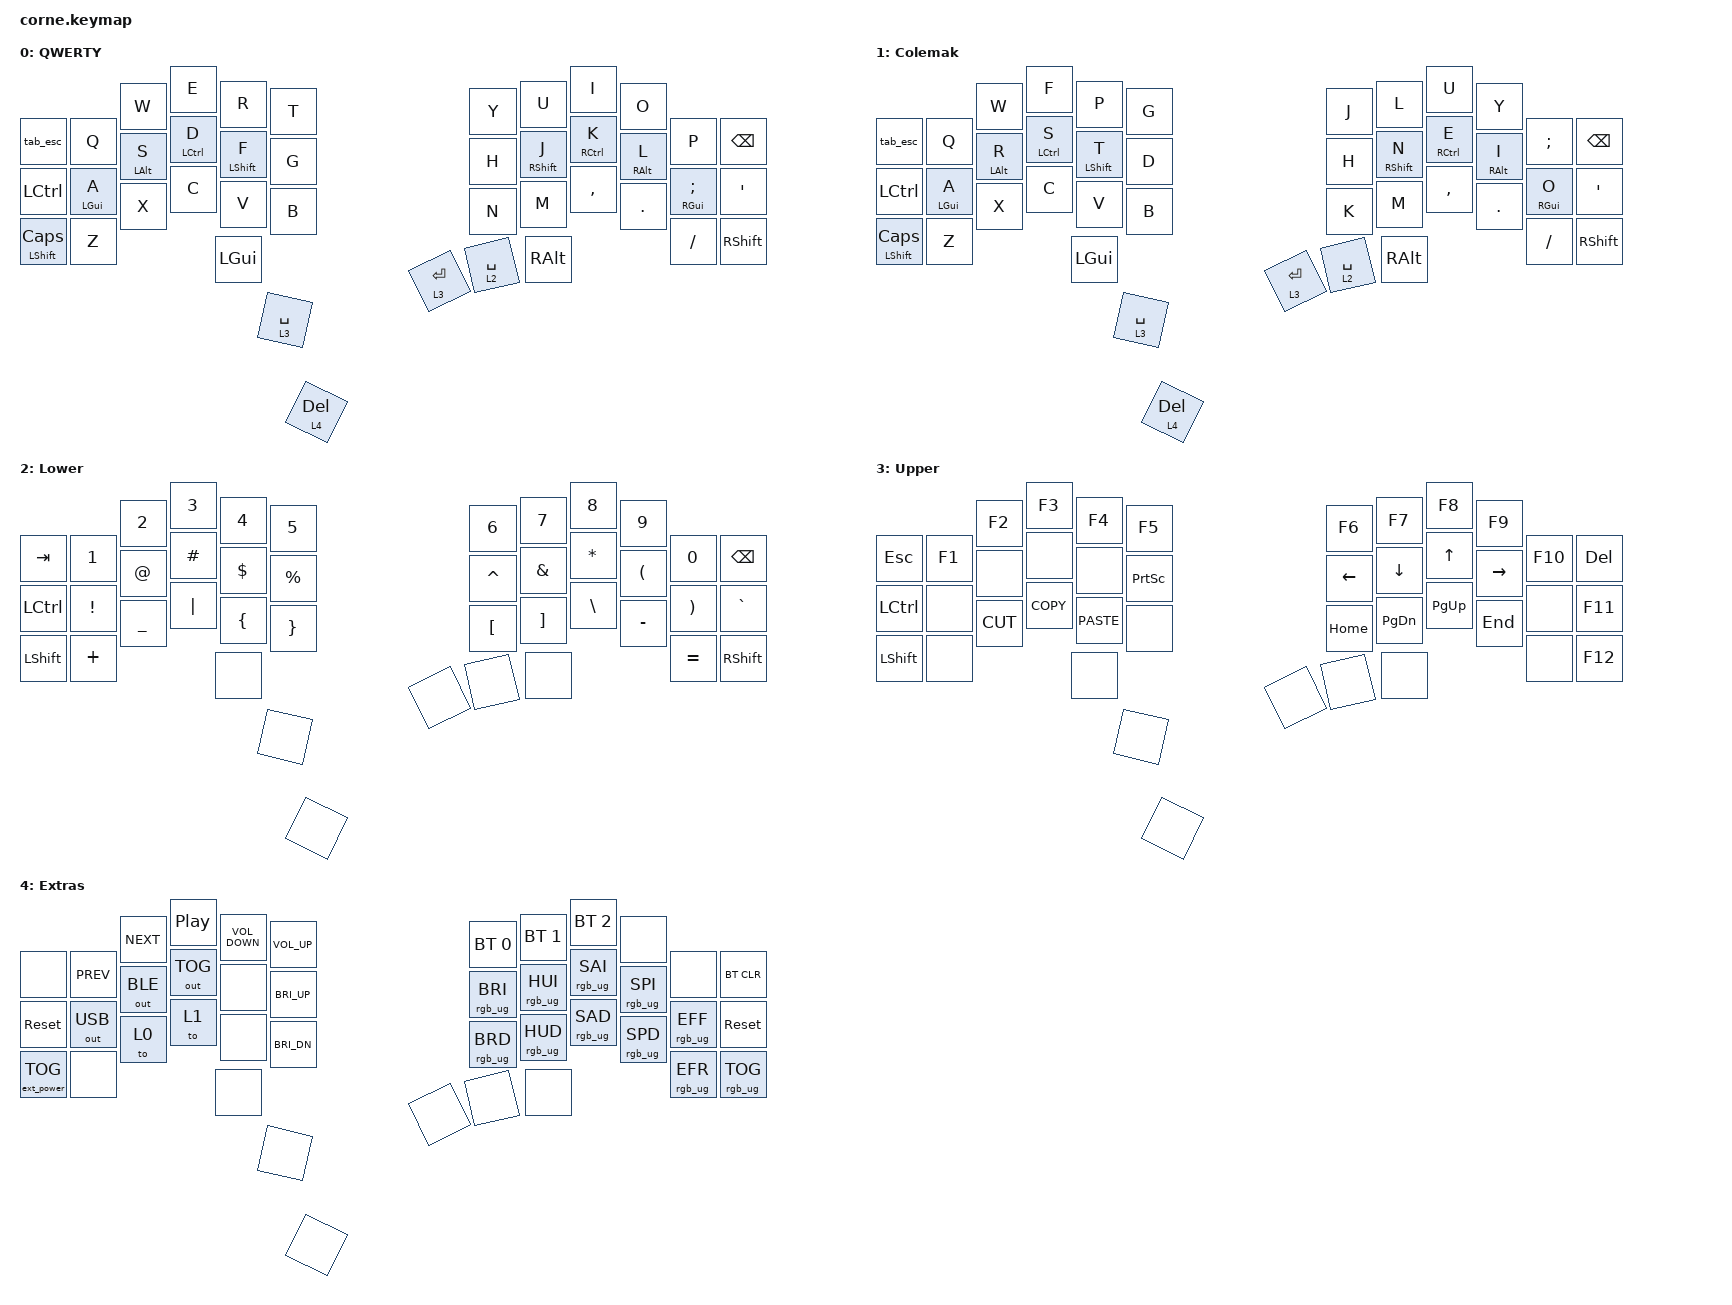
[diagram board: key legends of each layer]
/*
 * LAYER ORDER MATTERS. ZMK resolves a key press from the highest active layer
 * downwards, stopping at the first layer with a non-transparent binding. An
 * alternate base layer (colemak) must therefore sit BELOW the momentary layers,
 * otherwise it shadows them and every `&lt`/`&to` becomes unreachable -- which
 * previously made it impossible to leave colemak (and left colemak with no
 * number/symbol/arrow layers at all).
 *
 *   0 qwerty   (default base)
 *   1 colemak  (alternate base)
 *   2 lower
 *   3 upper
 *   4 extras
 *
 * Keep in sync with clover_dongle.keymap (the keymap actually flashed to the
 * dongle); that copy replaces the RGB / ext-power bindings with `&trans`.
 */

#include <behaviors.dtsi>
#include <dt-bindings/zmk/bt.h>
#include <dt-bindings/zmk/ext_power.h>
#include <dt-bindings/zmk/keys.h>
#include <dt-bindings/zmk/outputs.h>
#include <dt-bindings/zmk/rgb.h>

/ {
    behaviors {
        tab_esc: tab_esc {
            compatible = "zmk,behavior-tap-dance";
            label = "TAB_ESC";
            #binding-cells = <0>;
            tapping-term-ms = <200>;
            bindings = <&kp TAB>, <&kp ESC>;
        };

        hm: homerow_mods {
            compatible = "zmk,behavior-hold-tap";
            label = "HOMEROW_MODS";
            #binding-cells = <2>;
            tapping-term-ms = <225>;
            quick_tap_ms = <180>;
            flavor = "tap-preferred";
            bindings = <&kp>, <&kp>;
            global-quick-tap;
        };
    };

    keymap {
        compatible = "zmk,keymap";

        qwerty {
            display-name = "QWERTY";
            bindings = <
&tab_esc                 &kp Q           &kp W           &kp E         &kp R             &kp T         &kp Y        &kp U         &kp I          &kp O            &kp P               &kp BACKSPACE
&kp LCTRL                &hm LEFT_GUI A  &hm LEFT_ALT S  &hm LCTRL D   &hm LEFT_SHIFT F  &kp G         &kp H        &hm RSHIFT J  &hm RCTRL K    &hm RIGHT_ALT L  &hm RGUI SEMICOLON  &kp SQT
&mt LEFT_SHIFT CAPSLOCK  &kp Z           &kp X           &kp C         &kp V             &kp B         &kp N        &kp M         &kp COMMA      &kp DOT          &kp FSLH            &kp RIGHT_SHIFT
                                                         &kp LEFT_GUI  &lt 3 SPACE       &lt 4 DELETE  &lt 3 ENTER  &lt 2 SPACE   &kp RIGHT_ALT
            >;
        };

        colemak {
            display-name = "Colemak";
            bindings = <
&tab_esc                 &kp Q           &kp W           &kp F               &kp P             &kp G         &kp J        &kp L              &kp U                &kp Y            &kp SEMICOLON    &kp BACKSPACE
&kp LCTRL                &hm LEFT_GUI A  &hm LEFT_ALT R  &hm LEFT_CONTROL S  &hm LEFT_SHIFT T  &kp D         &kp H        &hm RIGHT_SHIFT N  &hm RIGHT_CONTROL E  &hm RIGHT_ALT I  &hm RIGHT_GUI O  &kp SQT
&mt LEFT_SHIFT CAPSLOCK  &kp Z           &kp X           &kp C               &kp V             &kp B         &kp K        &kp M              &kp COMMA            &kp DOT          &kp FSLH         &kp RIGHT_SHIFT
                                                         &kp LEFT_GUI        &lt 3 SPACE       &lt 4 DELETE  &lt 3 ENTER  &lt 2 SPACE        &kp RIGHT_ALT
            >;
        };

        lower {
            display-name = "Lower";
            bindings = <
&kp TAB           &kp N1           &kp N2       &kp N3     &kp N4          &kp N5           &kp N6            &kp N7             &kp N8         &kp N9                &kp N0                 &kp BACKSPACE
&kp LEFT_CONTROL  &kp EXCLAMATION  &kp AT_SIGN  &kp POUND  &kp DOLLAR      &kp PERCENT      &kp CARET         &kp AMPERSAND      &kp ASTERISK   &kp LEFT_PARENTHESIS  &kp RIGHT_PARENTHESIS  &kp GRAVE
&kp LEFT_SHIFT    &kp PLUS         &kp UNDER    &kp PIPE   &kp LEFT_BRACE  &kp RIGHT_BRACE  &kp LEFT_BRACKET  &kp RIGHT_BRACKET  &kp BACKSLASH  &kp MINUS             &kp EQUAL              &kp RIGHT_SHIFT
                                                &none      &none           &none            &none             &none              &none
            >;
        };

        upper {
            display-name = "Upper";
            bindings = <
&kp ESCAPE        &kp F1  &kp F2     &kp F3      &kp F4       &kp F5           &kp F6          &kp F7          &kp F8        &kp F9           &kp F10  &kp DELETE
&kp LEFT_CONTROL  &none   &none      &none       &none        &kp PRINTSCREEN  &kp LEFT_ARROW  &kp DOWN_ARROW  &kp UP_ARROW  &kp RIGHT_ARROW  &none    &kp F11
&kp LEFT_SHIFT    &none   &kp K_CUT  &kp K_COPY  &kp K_PASTE  &none            &kp HOME        &kp PAGE_DOWN   &kp PAGE_UP   &kp END          &none    &kp F12
                                     &none       &none        &none            &none           &none           &none
            >;
        };

        extras {
            display-name = "Extras";
            bindings = <
&none              &kp C_PREV  &kp C_NEXT  &kp C_PP  &kp C_VOLUME_DOWN  &kp C_VOL_UP  &bt BT_SEL 0     &bt BT_SEL 1     &bt BT_SEL 2     &none            &none            &bt BT_CLR
&sys_reset         &out OUT_USB  &out OUT_BLE  &out OUT_TOG  &none          &kp C_BRI_UP  &rgb_ug RGB_BRI  &rgb_ug RGB_HUI  &rgb_ug RGB_SAI  &rgb_ug RGB_SPI  &rgb_ug RGB_EFF  &sys_reset
&ext_power EP_TOG  &none       &to 0       &to 1     &none              &kp C_BRI_DN  &rgb_ug RGB_BRD  &rgb_ug RGB_HUD  &rgb_ug RGB_SAD  &rgb_ug RGB_SPD  &rgb_ug RGB_EFR  &rgb_ug RGB_TOG
                                           &none     &none              &none         &none            &none            &none
            >;
        };
    };
};
